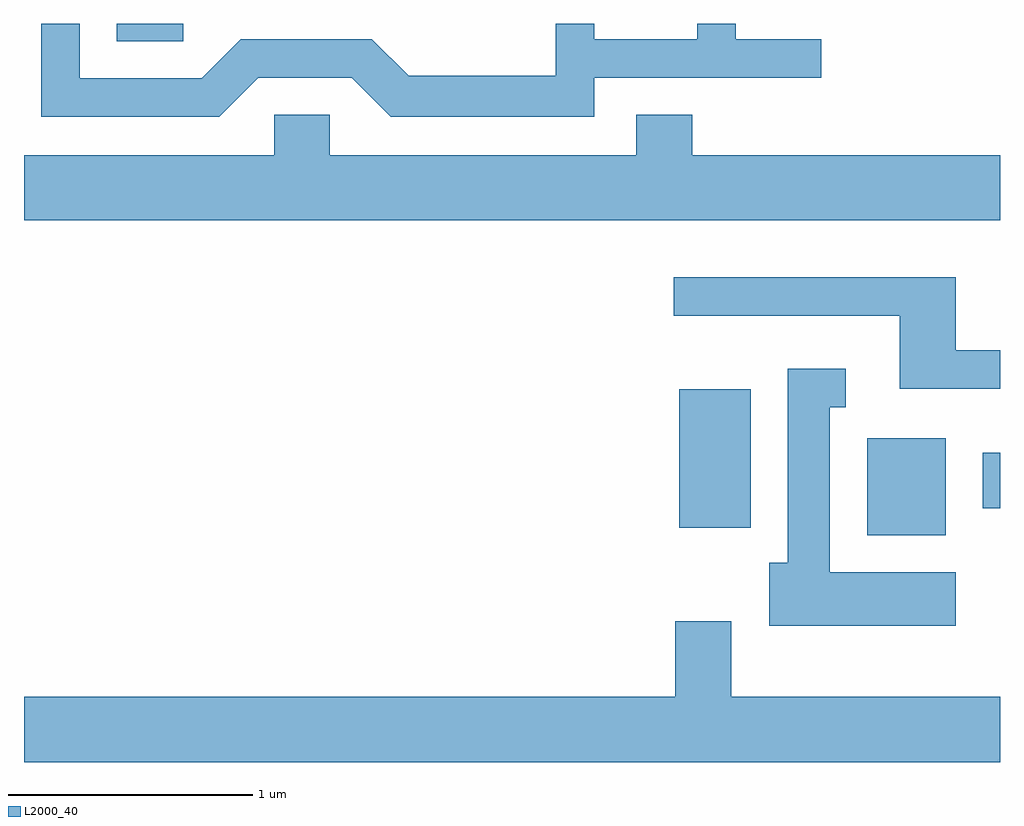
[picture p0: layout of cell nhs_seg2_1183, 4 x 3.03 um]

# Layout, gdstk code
import gdstk
lib = gdstk.Library(unit=1e-6, precision=1e-09)
def R(c, l, rs):  # rectangles x0, y0, x1, y1
    for r in rs: c.add(gdstk.rectangle(r[:2], r[2:], *l))
def P(c, l, *ps):  # polygons
    for p in ps: c.add(gdstk.Polygon(p, *l))
L2000_40 = (2000, 40)

nhs_seg2_1183 = lib.new_cell('nhs_seg2_1183')
R(nhs_seg2_1183, L2000_40, [(223.066,1033.706,223.389,1034.104), (222.296,1033.736,222.589,1034.304), (223.541,1033.816,223.611,1034.044), (219.991,1035.731,220.263,1035.802)])
P(nhs_seg2_1183, L2000_40, [(220.572,1035.581),(220.954,1035.581),(221.114,1035.421),(221.949,1035.421),(221.949,1035.581),(222.878,1035.581),(222.878,1035.739),(222.529,1035.739),(222.529,1035.802),(222.371,1035.802),(222.371,1035.739),(221.949,1035.739),(221.949,1035.802),(221.791,1035.802),(221.791,1035.589),(221.187,1035.589),(221.037,1035.739),(220.499,1035.739),(220.339,1035.579),(219.839,1035.579),(219.839,1035.802),(219.681,1035.802),(219.681,1035.421),(220.412,1035.421)],
  [(223.611,1035.264),(222.349,1035.264),(222.349,1035.429),(222.121,1035.429),(222.121,1035.264),(220.864,1035.264),(220.864,1035.429),(220.636,1035.429),(220.636,1035.264),(219.611,1035.264),(219.611,1034.996),(223.611,1034.996)],
  [(223.611,1034.464),(223.429,1034.464),(223.429,1034.764),(222.273,1034.764),(222.273,1034.606),(223.201,1034.606),(223.201,1034.306),(223.611,1034.306)],
  [(223.429,1033.554),(222.914,1033.554),(222.914,1034.231),(222.978,1034.231),(222.978,1034.389),(222.741,1034.389),(222.741,1033.594),(222.666,1033.594),(222.666,1033.336),(223.429,1033.336)],
  [(223.611,1033.044),(222.509,1033.044),(222.509,1033.354),(222.281,1033.354),(222.281,1033.044),(219.611,1033.044),(219.611,1032.776),(223.611,1032.776)])

lib.write_gds('nhs_seg2_1183.gds')
